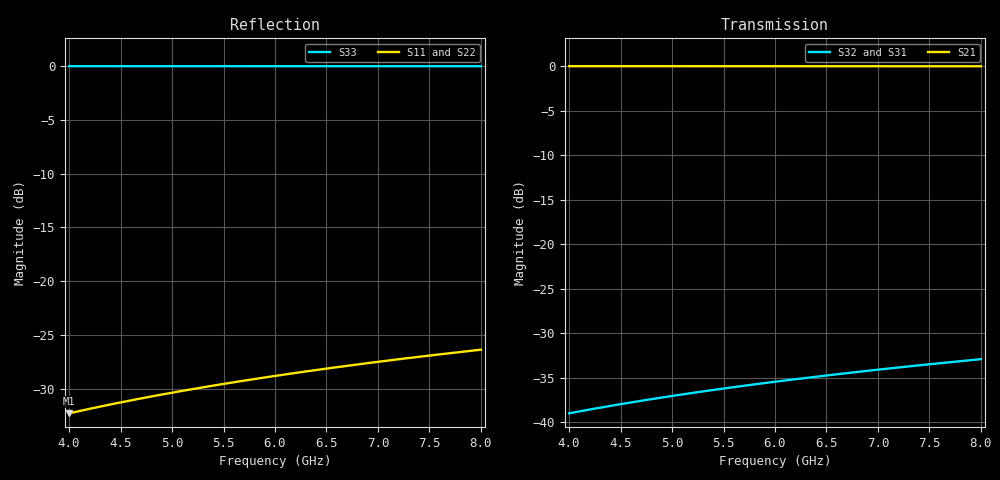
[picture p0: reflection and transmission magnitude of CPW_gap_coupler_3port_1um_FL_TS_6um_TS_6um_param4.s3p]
! Sonnet Data File
! From: em Version : 15.52
! From Project: CPW_gap_coupler_3port_1um_FL_TS_6um
! Data is De-embedded
! Data File Written: 08/14/2018 17:24:40
!< HDATE 08/14/2018 17:19:51
!< MDATE 08/14/2018 17:19:51
!< PARAMS
!< gap = 2.0
!< cpwS = 5.0
!< cpwS1 = 5.0
!< feedW = 12.0
!< feedS1 = 5.0
!< cond_length = 344.0
!< inner_length = 326.0
!< hangerW = 12.0000175
!< open_gap = 22.0
!< coupler_length = 350.0
!< END PARAMS
# GHZ S MA R 50.00000
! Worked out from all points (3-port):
!   201 points, 4 GHz to 8 GHz, reference 50 ohm
!   strongest paths, dB at 4 GHz, 5 GHz, 6 GHz, 7 GHz, 8 GHz:
!     S21: 0.0, 0.0, 0.0, 0.0, 0.0
!     S32: -39.0, -37.0, -35.4, -34.1, -32.9
!     S31: -39.0, -37.0, -35.5, -34.1, -33.0
!   lowest |S11| = -32.3 dB at 4 GHz (marker M1), VSWR 1.05, Z = 50.3 + j2.42 ohm
!   |S11| at or under -10 dB: start of sweep to end of sweep
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4  0.02426 81.8  0.9996 -9.0  0.01124 80.4
   0.9996 -9.0  0.02425 80.5  0.01125 83.3
   0.01124 80.4  0.01125 83.3  0.9999 -8.7
4.22  0.02558 81.3  0.9996 -9.5  0.01185 79.9
      0.9996 -9.5  0.02558 79.9  0.01188 82.9
      0.01185 79.9  0.01188 82.9  0.9999 -9.1
4.46  0.02703 80.8  0.9996 -10.1  0.01253 79.3
      0.9996 -10.1  0.02701 79.4  0.01255 82.5
      0.01253 79.3  0.01255 82.5  0.9998 -9.7
4.94  0.0299 79.9  0.9995 -11.1  0.01388 78.1
      0.9995 -11.1  0.02989 78.2  0.01391 81.7
      0.01388 78.1  0.01391 81.7  0.9998 -10.7
5.44  0.03288 78.8  0.9993 -12.3  0.01529 76.9
      0.9993 -12.3  0.03286 77.0  0.01533 80.9
      0.01529 76.9  0.01533 80.9  0.9998 -11.8
6  0.03621 77.7  0.9992 -13.5  0.01687 75.6
   0.9992 -13.5  0.03619 75.7  0.01692 79.9
   0.01687 75.6  0.01692 79.9  0.9997 -13.0
6.46  0.03893 76.7  0.9991 -14.6  0.01817 74.5
      0.9991 -14.6  0.0389 74.6  0.01824 79.1
      0.01817 74.5  0.01824 79.1  0.9997 -14.0
6.94  0.04176 75.8  0.9989 -15.7  0.01952 73.3
      0.9989 -15.7  0.04172 73.5  0.01961 78.3
      0.01952 73.3  0.01961 78.3  0.9996 -15.1
7.48  0.04492 74.7  0.9988 -16.9  0.02105 72.0
      0.9988 -16.9  0.04487 72.2  0.02115 77.4
      0.02105 72.0  0.02115 77.4  0.9996 -16.2
8  0.04795 73.6  0.9986 -18.0  0.02252 70.8
   0.9986 -18.0  0.04789 70.9  0.02265 76.5
   0.02252 70.8  0.02265 76.5  0.9995 -17.4
